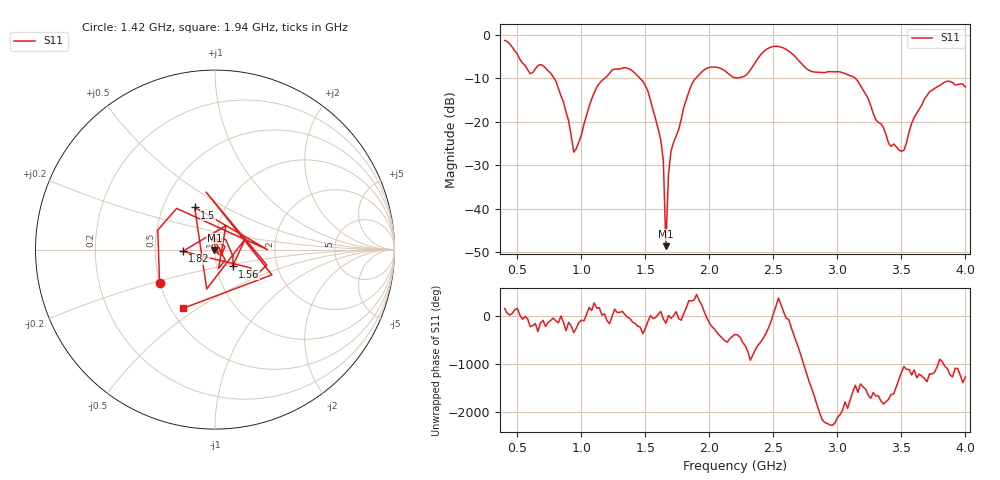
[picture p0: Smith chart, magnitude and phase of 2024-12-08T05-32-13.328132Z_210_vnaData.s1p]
!Created with skrf (http://scikit-rf.org).
# Hz S RI R 50.0
!freq ReS11 ImS11
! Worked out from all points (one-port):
!   181 points, 400 MHz to 4 GHz, reference 50 ohm
!   lowest |S11| = -48.6 dB at 1.66 GHz (marker M1), VSWR 1.01, Z = 49.7 - j0.229 ohm
!   |S11| at or under -10 dB: 787 MHz to 1.181 GHz (394.1 MHz wide, 40 % of centre); 1.458 GHz to 1.893 GHz (435.5 MHz wide, 26 % of centre); 3.141 GHz to end of sweep
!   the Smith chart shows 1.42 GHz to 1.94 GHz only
!   S11 on the Smith chart (normalised r, x): 1.42 GHz: 0.50, -0.21; 1.5 GHz: 0.72, +0.36; 1.56 GHz: 1.19, -0.23; 1.82 GHz: 0.69, -0.01; 1.94 GHz: 0.57, -0.44
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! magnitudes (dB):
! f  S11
! 400 MHz  -1.3
! 600 MHz  -8.9
! 680 MHz  -6.8
! 760 MHz  -8.8
! 860 MHz  -15.5
! 940 MHz  -27.0
! 1.12 GHz  -12.0
! 1.3 GHz  -7.8
! 1.42 GHz  -8.9
! 1.5 GHz  -11.7
! 1.56 GHz  -17.4
! 1.64 GHz  -28.8
! 1.66 GHz  -48.6
! 1.68 GHz  -32.2
! 1.7 GHz  -26.7
! 1.76 GHz  -21.8
! 1.82 GHz  -14.9
! 1.94 GHz  -8.5
! 2.2 GHz  -9.8
! 2.48 GHz  -2.8
! 2.66 GHz  -4.7
! 2.8 GHz  -8.4
! 3.1 GHz  -9.4
! 3.42 GHz  -25.7
! 3.52 GHz  -26.5
! 3.56 GHz  -22.3
! 3.72 GHz  -13.1
! 4 GHz  -12.0
